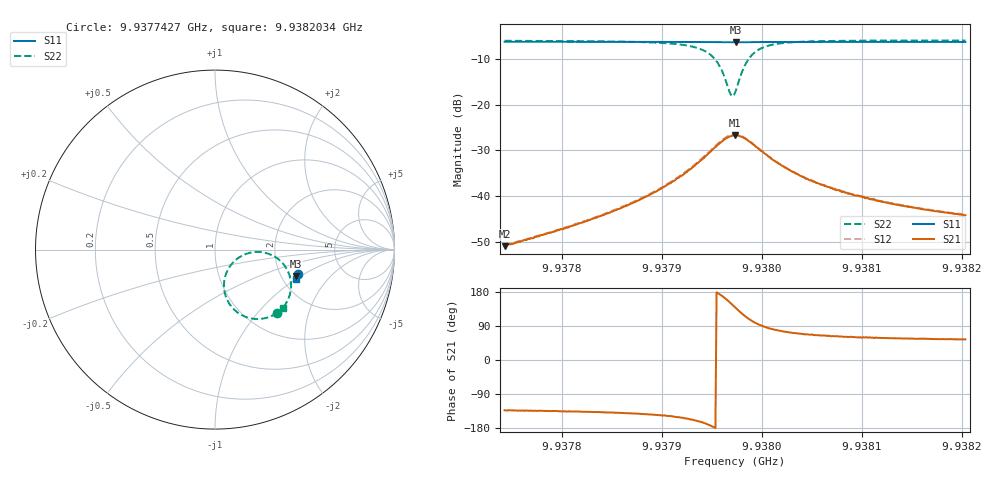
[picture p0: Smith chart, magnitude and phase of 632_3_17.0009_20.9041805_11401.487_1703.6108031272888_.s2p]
#  HZ  S  RI  R  50.00
! Rohde & Schwarz Vector Network Analyzer
! Rohde-Schwarz,ZNB20-2Port,1311601062101988,3.16
! Created: UTC 3/20/2024, 11:20:23 PM
! freq[Hz]  re:S11  im:S11  re:S21  im:S21  re:S12  im:S12  re:S22  im:S22
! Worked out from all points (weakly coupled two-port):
!   401 points, 9.9377427 GHz to 9.9382034 GHz, reference 50 ohm
!   highest |S21| = -26.72 dB at 9.937973 GHz (marker M1); lowest = -50.8 dB at 9.9377427 GHz (marker M2)
!   lowest |S11| = -6.5 dB at 9.9379742 GHz (marker M3), VSWR 2.81, Z = 120 - j46.1 ohm
!   |S11| at or under -10 dB: nowhere
!   |S22| runs from -18.2 to -6.1 dB; largest |S21 - S12| = 0.0022
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9.93774268e9  0.4617 -0.1374  -0.00194 -0.00211  -0.00201 -0.00212  0.3471 -0.3512
9.93781985e9  0.4596 -0.1428  -0.00376 -0.00356  -0.00386 -0.00354  0.327 -0.3637
9.93785671e9  0.4585 -0.1453  -0.00554 -0.00473  -0.00569 -0.00473  0.3092 -0.3726
9.93789702e9  0.457 -0.1482  -0.00973 -0.00665  -0.01 -0.00663  0.2708 -0.3837
9.93792812e9  0.4553 -0.1505  -0.0182 -0.00775  -0.0186 -0.00778  0.2001 -0.3835
9.9379454e9  0.4537 -0.1516  -0.0281 -0.0051  -0.0289 -0.00488  0.1219 -0.3475
9.93795116e9  0.453 -0.1516  -0.0326 -0.00217  -0.0337 -0.00144  0.0894 -0.3149
9.93795692e9  0.452 -0.1515  -0.0371 0.0033  -0.0381 0.00444  0.0612 -0.2636
9.93796268e9  0.4513 -0.151  -0.0401 0.0115  -0.041 0.0133  0.0502 -0.1906
9.93796844e9  0.451 -0.1502  -0.0392 0.0222  -0.0395 0.0243  0.0743 -0.1074
9.93797074e9  0.4511 -0.1498  -0.0376 0.0264  -0.0376 0.0284  0.0962 -0.0769
9.93797304e9  0.4513 -0.1495  -0.0349 0.0302  -0.0344 0.0321  0.1241 -0.0506
9.93797419e9  0.4513 -0.1491  -0.0334 0.0318  -0.0329 0.0339  0.1392 -0.0402
9.93797995e9  0.4521 -0.1487  -0.0239 0.0375  -0.0228 0.039  0.2246 -0.0134
9.93798456e9  0.4531 -0.1486  -0.016 0.0385  -0.0149 0.0393  0.2871 -0.0197
9.93799032e9  0.454 -0.1491  -0.00809 0.0366  -0.007 0.0372  0.3457 -0.0476
9.93799608e9  0.4545 -0.1497  -0.00272 0.0333  -0.00187 0.0337  0.3827 -0.0827
9.93801451e9  0.455 -0.1519  0.0044 0.0231  0.00516 0.0231  0.4221 -0.1738
9.93805021e9  0.4544 -0.1553  0.00568 0.0135  0.0062 0.0135  0.4164 -0.2535
9.93808937e9  0.4536 -0.1583  0.00508 0.00923  0.00535 0.00919  0.4026 -0.2877
9.93812738e9  0.4524 -0.1609  0.00452 0.00709  0.0047 0.00711  0.3925 -0.3046
9.9382034e9  0.4503 -0.1661  0.00362 0.00508  0.00378 0.00508  0.3788 -0.3235
